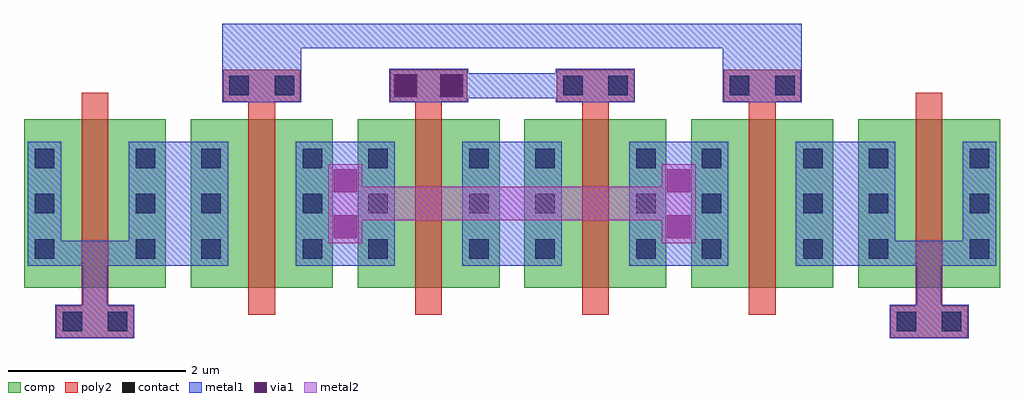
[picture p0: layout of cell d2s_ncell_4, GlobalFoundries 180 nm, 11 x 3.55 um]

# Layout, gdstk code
import gdstk
lib = gdstk.Library(unit=1e-6, precision=5e-09)
def R(c, l, rs):  # rectangles x0, y0, x1, y1
    for r in rs: c.add(gdstk.rectangle(r[:2], r[2:], *l))
def A(c, l, x, y, w, h, nx, ny, dx, dy):  # array of equal rectangles
    R(c, l, [(x+i*dx, y+j*dy, x+i*dx+w, y+j*dy+h) for i in range(nx) for j in range(ny)])
comp = (22, 0)
poly2 = (30, 0)
contact = (33, 0)
metal1 = (34, 0)
via1 = (35, 0)
metal2 = (36, 0)

d2s_ncell_1 = lib.new_cell('d2s_ncell_1')
R(d2s_ncell_1, comp, [(0,0.3,0.46,2.2), (0.46,0.3,1.14,2.2), (1.14,0.3,1.6,2.2)])
R(d2s_ncell_1, poly2, [(0.65,0,0.95,2.5)])
A(d2s_ncell_1, contact, 0.12, 0.63, 0.22, 0.22, 1, 3, 0, 0.51)
A(d2s_ncell_1, contact, 1.26, 0.63, 0.22, 0.22, 1, 3, 0, 0.51)
R(d2s_ncell_1, metal1, [(0.04,0.55,0.42,1.95), (1.18,0.55,1.56,1.95)])

d2s_ncell_4 = lib.new_cell('d2s_ncell_4')
A(d2s_ncell_4, poly2, 2.245, 2.4, 0.87, 0.36, 4, 1, 1.88, 0)
R(d2s_ncell_4, poly2, [(0.365,-0.26,1.235,0.1), (9.765,-0.26,10.635,0.1)])
R(d2s_ncell_4, contact, [(0.435,-0.19,0.655,0.03), (0.945,-0.19,1.165,0.03), (9.835,-0.19,10.055,0.03), (10.345,-0.19,10.565,0.03), (2.315,2.47,2.535,2.69), (2.825,2.47,3.045,2.69), (4.195,2.47,4.415,2.69), (4.705,2.47,4.925,2.69), (6.075,2.47,6.295,2.69), (6.585,2.47,6.805,2.69), (7.955,2.47,8.175,2.69), (8.465,2.47,8.685,2.69)])
A(d2s_ncell_4, metal1, 1.56, 0.55, 0.36, 1.4, 5, 1, 1.88, 0)
R(d2s_ncell_4, metal1, [(0.355,-0.27,1.245,0.11), (9.755,-0.27,10.645,0.11), (2.235,2.39,3.125,3.28), (4.115,2.39,5.005,2.77), (5.995,2.39,6.885,2.77), (7.875,2.39,8.765,3.28)])
R(d2s_ncell_4, via1, [(3.49,0.86,3.75,1.12), (7.25,0.86,7.51,1.12), (3.49,1.38,3.75,1.64), (7.25,1.38,7.51,1.64), (4.17,2.45,4.43,2.71), (4.69,2.45,4.95,2.71)])
R(d2s_ncell_4, metal2, [(3.43,0.805,3.81,1.695), (7.19,0.805,7.57,1.695)])
d2s_ncell_4.add(gdstk.FlexPath([(0.8,0.11),(0.8,0.55)], 0.28, ends="flush", simple_path=True, layer=34, datatype=0))  # metal1
d2s_ncell_4.add(gdstk.FlexPath([(0.42,0.69),(1.18,0.69)], 0.28, ends="flush", simple_path=True, layer=34, datatype=0))  # metal1
d2s_ncell_4.add(gdstk.FlexPath([(9.82,0.69),(10.58,0.69)], 0.28, ends="flush", simple_path=True, layer=34, datatype=0))  # metal1
d2s_ncell_4.add(gdstk.FlexPath([(10.2,0.11),(10.2,0.55)], 0.28, ends="flush", simple_path=True, layer=34, datatype=0))  # metal1
d2s_ncell_4.add(gdstk.FlexPath([(5.995,2.58),(5.005,2.58)], 0.28, ends="flush", simple_path=True, layer=34, datatype=0))  # metal1
d2s_ncell_4.add(gdstk.FlexPath([(8.765,3.14),(2.235,3.14)], 0.28, ends="flush", simple_path=True, layer=34, datatype=0))  # metal1
d2s_ncell_4.add(gdstk.FlexPath([(3.81,1.25),(7.19,1.25)], 0.38, ends="flush", simple_path=True, layer=36, datatype=0))  # metal2
d2s_ncell_4.add(gdstk.Reference(d2s_ncell_1, (0,0)))
d2s_ncell_4.add(gdstk.Reference(d2s_ncell_1, (1.88,0)))
d2s_ncell_4.add(gdstk.Reference(d2s_ncell_1, (3.76,0)))
d2s_ncell_4.add(gdstk.Reference(d2s_ncell_1, (5.64,0)))
d2s_ncell_4.add(gdstk.Reference(d2s_ncell_1, (7.52,0)))
d2s_ncell_4.add(gdstk.Reference(d2s_ncell_1, (9.4,0)))

lib.write_gds('d2s_ncell_4.gds')
